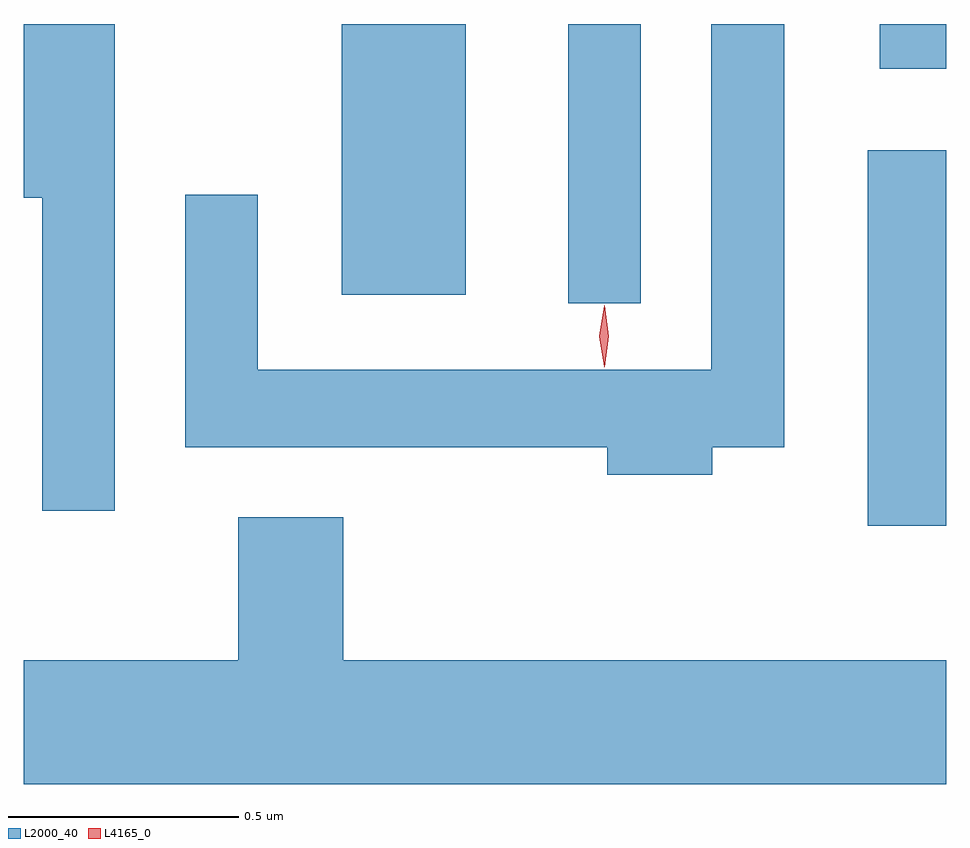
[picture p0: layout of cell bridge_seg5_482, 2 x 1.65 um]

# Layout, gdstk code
import gdstk
lib = gdstk.Library(unit=1e-6, precision=1e-09)
def R(c, l, rs):  # rectangles x0, y0, x1, y1
    for r in rs: c.add(gdstk.rectangle(r[:2], r[2:], *l))
def P(c, l, *ps):  # polygons
    for p in ps: c.add(gdstk.Polygon(p, *l))
L2000_40 = (2000, 40)
L4165_0 = (4165, 0)

bridge_seg5_482 = lib.new_cell('bridge_seg5_482')
R(bridge_seg5_482, L2000_40, [(360.336,1490.656,360.506,1491.469), (359.686,1491.138,359.844,1491.743), (359.196,1491.156,359.464,1491.743), (360.361,1491.646,360.506,1491.743)])
P(bridge_seg5_482, L2000_40, [(359.999,1490.826),(360.154,1490.826),(360.154,1491.743),(359.996,1491.743),(359.996,1490.994),(359.014,1490.994),(359.014,1491.373),(358.856,1491.373),(358.856,1490.826),(359.771,1490.826),(359.771,1490.766),(359.999,1490.766)],
  [(358.704,1491.743),(358.506,1491.743),(358.506,1491.366),(358.546,1491.366),(358.546,1490.688),(358.704,1490.688)],
  [(360.506,1490.364),(359.199,1490.364),(359.199,1490.674),(358.971,1490.674),(358.971,1490.364),(358.506,1490.364),(358.506,1490.096),(360.506,1490.096)])
P(bridge_seg5_482, L4165_0, [(359.764,1490.999),(359.764,1491),(359.754,1491.066),(359.764,1491.132),(359.764,1491.133),(359.765,1491.132),(359.774,1491.066),(359.765,1491)])

lib.write_gds('bridge_seg5_482.gds')
